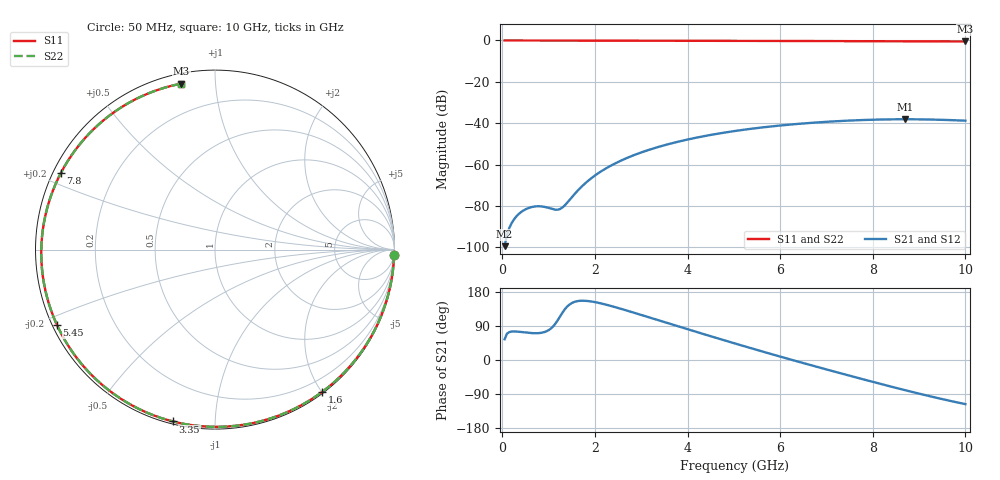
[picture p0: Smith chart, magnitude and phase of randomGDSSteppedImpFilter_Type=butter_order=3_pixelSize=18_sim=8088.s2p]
! freq	dB(S11)	phase(S11)	dB(S12)	phase(S12)
!  dB(S21)	phase(S21)	dB(S22)	phase(S22)
!S-par simulation data
#  GHz  S  DB  R 50
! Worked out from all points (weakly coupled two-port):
!   200 points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, 50 MHz to 10 GHz, reference 50 ohm
!   highest |S21| = -38.09 dB at 8.7 GHz (marker M1); lowest = -99.4 dB at 50 MHz (marker M2)
!   lowest |S11| = -0.5 dB at 10 GHz (marker M3), VSWR 34.37, Z = 2.43 + j40.8 ohm
!   |S11| at or under -10 dB: nowhere
!   |S22| runs from -0.5 to 0.0 dB; largest |S21 - S12| = 0
!   S11 on the Smith chart (normalised r, x): 50 MHz: 2, -69; 1.6 GHz: 0.02, -2.00; 3.35 GHz: 0.01, -0.78; 5.45 GHz: 0.01, -0.23; 7.8 GHz: 0.02, +0.24; 10 GHz: 0.05, +0.82
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0.05  -0.01 -1.7  -99.43 54.7  -99.43 54.7  -0.01 -1.7
0.65  -0.03 -22.1  -80.45 70.9  -80.45 70.9  -0.03 -22.1
1.3  -0.05 -43.6  -80.72 125.2  -80.72 125.2  -0.05 -43.6
1.35  -0.06 -45.2  -79.69 133.9  -79.69 133.9  -0.06 -45.2
1.6  -0.07 -53.2  -73.26 154.8  -73.26 154.8  -0.07 -53.2
1.75  -0.07 -57.9  -69.86 156.4  -69.86 156.4  -0.07 -57.9
2.05  -0.08 -67.0  -64.51 151.6  -64.51 151.6  -0.08 -67.1
2.4  -0.09 -77.4  -59.86 140.8  -59.86 140.8  -0.09 -77.4
2.85  -0.11 -90.2  -55.37 124.5  -55.37 124.5  -0.11 -90.2
3.35  -0.12 -103.8  -51.60 105.7  -51.60 105.7  -0.12 -103.8
3.4  -0.13 -105.1  -51.28 103.8  -51.28 103.8  -0.13 -105.1
4.25  -0.16 -126.5  -46.72 72.0  -46.72 72.0  -0.16 -126.5
5.05  -0.20 -145.4  -43.68 42.6  -43.68 42.6  -0.20 -145.4
5.45  -0.22 -154.5  -42.48 28.3  -42.48 28.3  -0.22 -154.5
6.05  -0.25 -167.9  -41.01 7.3  -41.01 7.3  -0.25 -167.9
6.7  -0.29 177.8  -39.78 -14.9  -39.78 -14.9  -0.29 177.8
7.25  -0.33 165.7  -39.00 -33.2  -39.00 -33.2  -0.33 165.7
7.8  -0.37 153.5  -38.45 -51.2  -38.45 -51.2  -0.37 153.5
8.35  -0.40 141.0  -38.15 -68.8  -38.15 -68.8  -0.40 141.0
8.7  -0.43 132.9  -38.09 -79.7  -38.09 -79.7  -0.43 132.9
9.4  -0.47 116.2  -38.30 -100.4  -38.30 -100.4  -0.47 116.2
10  -0.51 101.4  -38.78 -116.5  -38.78 -116.5  -0.51 101.4
